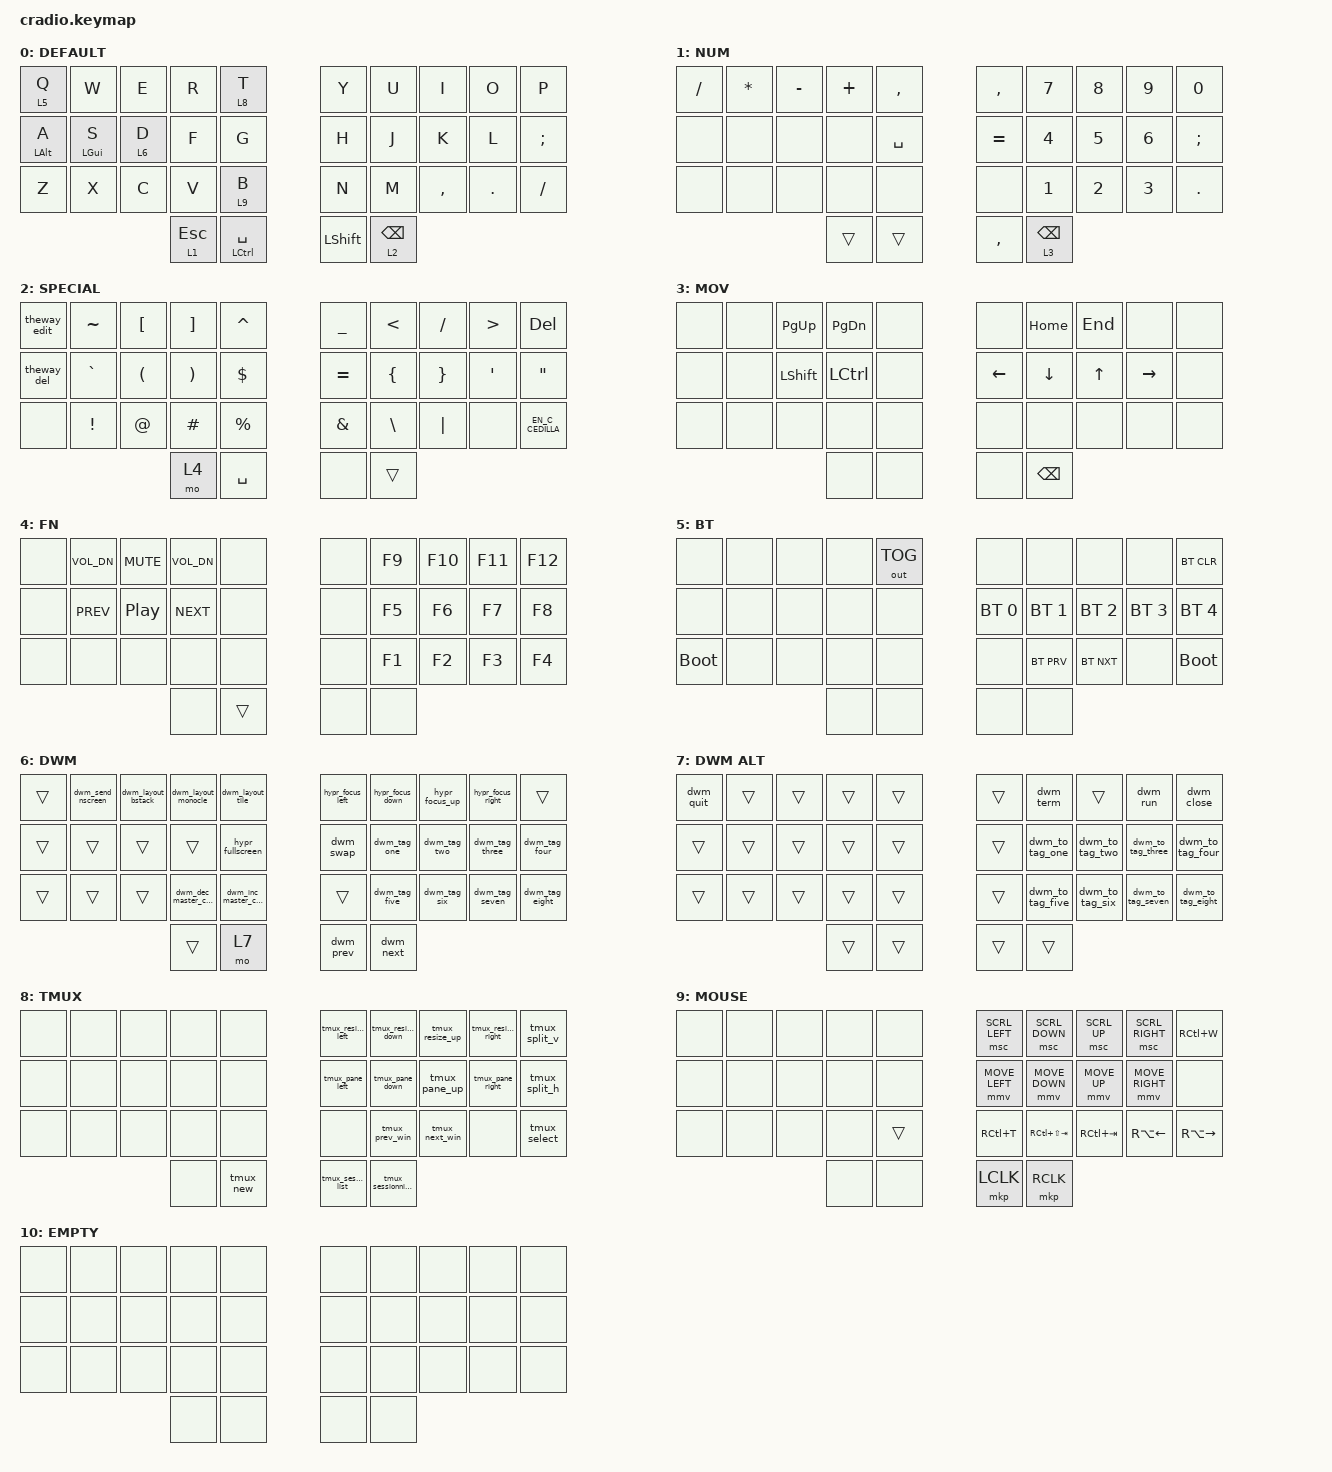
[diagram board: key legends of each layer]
// Copyright (c) 2022 The ZMK Contributors
// SPDX-License-Identifier: MIT

#define ZMK_POINTING_DEFAULT_MOVE_VAL 600  // 600
#define ZMK_POINTING_DEFAULT_SCRL_VAL 20    // 10

#include <behaviors.dtsi>
#include <dt-bindings/zmk/bt.h>
#include <dt-bindings/zmk/keys.h>
#include <dt-bindings/zmk/outputs.h>
#include <dt-bindings/zmk/pointing.h>
#include "keys_us_international.h"

#define MAC 0
#define WIN 1
#define RIG 2
#define LEF 3
#define TRI 4
#define MOUSE 5


/ {
    macros {
        dwm_term: dwm_term {
            compatible = "zmk,behavior-macro";
            #binding-cells = <0>;
            bindings
                = <&macro_press &kp LSHFT>
                    , <&macro_press &kp LALT>
                    , <&macro_tap &kp ENTER>
                    , <&macro_release &kp LALT>
                    , <&macro_release &kp LSHFT>
                    ;
        };

        dwm_swap: dwm_swap {
            compatible = "zmk,behavior-macro";
            #binding-cells = <0>;
            bindings
                = <&macro_press &kp LALT>
                    , <&macro_tap &kp ENTER>
                    , <&macro_release &kp LALT>
                    ;
        };

        dwm_run: dwm_run {
            compatible = "zmk,behavior-macro";
            #binding-cells = <0>;
            bindings
                = <&macro_press &kp LALT>
                    , <&macro_tap &kp P>
                    , <&macro_release &kp LALT>
                    ;
        };

        dwm_next: dwm_next {
            compatible = "zmk,behavior-macro";
            #binding-cells = <0>;
            bindings
                = <&macro_press &kp LALT>
                    , <&macro_tap &kp J>
                    , <&macro_release &kp LALT>
                    ;
        };

        dwm_prev: dwm_prev {
            compatible = "zmk,behavior-macro";
            #binding-cells = <0>;
            bindings
                = <&macro_press &kp LALT>
                    , <&macro_tap &kp K>
                    , <&macro_release &kp LALT>
                    ;
        };

        dwm_tag_one: dwm_tag_one {
            compatible = "zmk,behavior-macro";
            #binding-cells = <0>;
            bindings
                = <&macro_press &kp LALT>
                    , <&macro_tap &kp N1>
                    , <&macro_release &kp LALT>
                    ;
        };

        dwm_tag_two: dwm_tag_two {
            compatible = "zmk,behavior-macro";
            #binding-cells = <0>;
            bindings
                = <&macro_press &kp LALT>
                    , <&macro_tap &kp N2>
                    , <&macro_release &kp LALT>
                    ;
        };

        dwm_tag_three: dwm_tag_three {
            compatible = "zmk,behavior-macro";
            #binding-cells = <0>;
            bindings
                = <&macro_press &kp LALT>
                    , <&macro_tap &kp N3>
                    , <&macro_release &kp LALT>
                    ;
        };

        dwm_tag_four: dwm_tag_four {
            compatible = "zmk,behavior-macro";
            #binding-cells = <0>;
            bindings
                = <&macro_press &kp LALT>
                    , <&macro_tap &kp N4>
                    , <&macro_release &kp LALT>
                    ;
        };

        dwm_tag_five: dwm_tag_five {
            compatible = "zmk,behavior-macro";
            #binding-cells = <0>;
            bindings
                = <&macro_press &kp LALT>
                    , <&macro_tap &kp N5>
                    , <&macro_release &kp LALT>
                    ;
        };

        dwm_tag_six: dwm_tag_six {
            compatible = "zmk,behavior-macro";
            #binding-cells = <0>;
            bindings
                = <&macro_press &kp LALT>
                    , <&macro_tap &kp N6>
                    , <&macro_release &kp LALT>
                    ;
        };

        dwm_tag_seven: dwm_tag_seven {
            compatible = "zmk,behavior-macro";
            #binding-cells = <0>;
            bindings
                = <&macro_press &kp LALT>
                    , <&macro_tap &kp N7>
                    , <&macro_release &kp LALT>
                    ;
        };

        dwm_tag_eight: dwm_tag_eight {
            compatible = "zmk,behavior-macro";
            #binding-cells = <0>;
            bindings
                = <&macro_press &kp LALT>
                    , <&macro_tap &kp N8>
                    , <&macro_release &kp LALT>
                    ;
        };

        dwm_to_tag_one: dwm_to_tag_one {
            compatible = "zmk,behavior-macro";
            #binding-cells = <0>;
            bindings
                = <&macro_press &kp LALT>
                    , <&macro_press &kp LSHFT>
                    , <&macro_tap &kp N1>
                    , <&macro_release &kp LSHFT>
                    , <&macro_release &kp LALT>
                    ;
        };

        dwm_to_tag_two: dwm_to_tag_two {
            compatible = "zmk,behavior-macro";
            #binding-cells = <0>;
            bindings
                = <&macro_press &kp LALT>
                    , <&macro_press &kp LSHFT>
                    , <&macro_tap &kp N2>
                    , <&macro_release &kp LSHFT>
                    , <&macro_release &kp LALT>
                    ;
        };

        dwm_to_tag_three: dwm_to_tag_three {
            compatible = "zmk,behavior-macro";
            #binding-cells = <0>;
            bindings
                = <&macro_press &kp LALT>
                    , <&macro_press &kp LSHFT>
                    , <&macro_tap &kp N3>
                    , <&macro_release &kp LSHFT>
                    , <&macro_release &kp LALT>
                    ;
        };

        dwm_to_tag_four: dwm_to_tag_four {
            compatible = "zmk,behavior-macro";
            #binding-cells = <0>;
            bindings
                = <&macro_press &kp LALT>
                    , <&macro_press &kp LSHFT>
                    , <&macro_tap &kp N4>
                    , <&macro_release &kp LSHFT>
                    , <&macro_release &kp LALT>
                    ;
        };

        dwm_to_tag_five: dwm_to_tag_five {
            compatible = "zmk,behavior-macro";
            #binding-cells = <0>;
            bindings
                = <&macro_press &kp LALT>
                    , <&macro_press &kp LSHFT>
                    , <&macro_tap &kp N5>
                    , <&macro_release &kp LSHFT>
                    , <&macro_release &kp LALT>
                    ;
        };

        dwm_to_tag_six: dwm_to_tag_six {
            compatible = "zmk,behavior-macro";
            #binding-cells = <0>;
            bindings
                = <&macro_press &kp LALT>
                    , <&macro_press &kp LSHFT>
                    , <&macro_tap &kp N6>
                    , <&macro_release &kp LSHFT>
                    , <&macro_release &kp LALT>
                    ;
        };

        dwm_to_tag_seven: dwm_to_tag_seven {
            compatible = "zmk,behavior-macro";
            #binding-cells = <0>;
            bindings
                = <&macro_press &kp LALT>
                    , <&macro_press &kp LSHFT>
                    , <&macro_tap &kp N7>
                    , <&macro_release &kp LSHFT>
                    , <&macro_release &kp LALT>
                    ;
        };

        dwm_to_tag_eight: dwm_to_tag_eight {
            compatible = "zmk,behavior-macro";
            #binding-cells = <0>;
            bindings
                = <&macro_press &kp LALT>
                    , <&macro_press &kp LSHFT>
                    , <&macro_tap &kp N8>
                    , <&macro_release &kp LSHFT>
                    , <&macro_release &kp LALT>
                    ;
        };

        dwm_close: dwm_close {
            compatible = "zmk,behavior-macro";
            #binding-cells = <0>;
            bindings
                = <&macro_press &kp LALT>
                    , <&macro_press &kp LSHFT>
                    , <&macro_tap &kp C>
                    , <&macro_release &kp LSHFT>
                    , <&macro_release &kp LALT>
                    ;
        };

        dwm_quit: dwm_quit {
            compatible = "zmk,behavior-macro";
            #binding-cells = <0>;
            bindings
                = <&macro_press &kp LALT>
                    , <&macro_press &kp LSHFT>
                    , <&macro_tap &kp Q>
                    , <&macro_release &kp LSHFT>
                    , <&macro_release &kp LALT>
                    ;
        };

        dwm_inc_msize: dwm_inc_msize {
            compatible = "zmk,behavior-macro";
            #binding-cells = <0>;
            bindings
                = <&macro_press &kp LALT>
                    , <&macro_tap &kp L>
                    , <&macro_release &kp LALT>
                    ;
        };

        dwm_dec_msize: dwm_dec_msize {
            compatible = "zmk,behavior-macro";
            #binding-cells = <0>;
            bindings
                = <&macro_press &kp LALT>
                    , <&macro_tap &kp H>
                    , <&macro_release &kp LALT>
                    ;
        };

        dwm_layout_tile: dwm_layout_tile {
            compatible = "zmk,behavior-macro";
            #binding-cells = <0>;
            bindings
                = <&macro_press &kp LALT>
                    , <&macro_tap &kp T>
                    , <&macro_release &kp LALT>
                    ;
        };

        dwm_layout_monocle: dwm_layout_monocle {
            compatible = "zmk,behavior-macro";
            #binding-cells = <0>;
            bindings
                = <&macro_press &kp LALT>
                    , <&macro_tap &kp M>
                    , <&macro_release &kp LALT>
                    ;
        };

        dwm_layout_bstack: dwm_layout_bstack {
            compatible = "zmk,behavior-macro";
            #binding-cells = <0>;
            bindings
                = <&macro_press &kp LALT>
                    , <&macro_tap &kp U>
                    , <&macro_release &kp LALT>
                    ;
        };

        dwm_focus_nscreen: dwm_focus_nscreen {
            compatible = "zmk,behavior-macro";
            #binding-cells = <0>;
            bindings
                = <&macro_press &kp LALT>
                    , <&macro_tap &kp DOT>
                    , <&macro_release &kp LALT>
                    ;
        };

        dwm_send_nscreen: dwm_send_nscreen {
            compatible = "zmk,behavior-macro";
            #binding-cells = <0>;
            bindings
                = <&macro_press &kp LALT>
                    , <&macro_press &kp LSHFT>
                    , <&macro_tap &kp DOT>
                    , <&macro_release &kp LSHFT>
                    , <&macro_release &kp LALT>
                    ;
        };

        dwm_inc_master_count: dwm_inc_master_count {
            compatible = "zmk,behavior-macro";
            #binding-cells = <0>;
            bindings
                = <&macro_press &kp LALT>
                    , <&macro_tap &kp I>
                    , <&macro_release &kp LALT>
                    ;
        };

        dwm_dec_master_count: dwm_dec_master_count {
            compatible = "zmk,behavior-macro";
            #binding-cells = <0>;
            bindings
                = <&macro_press &kp LALT>
                    , <&macro_tap &kp D>
                    , <&macro_release &kp LALT>
                    ;
        };

        hypr_focus_up: hypr_focus_up {
            compatible = "zmk,behavior-macro";
            #binding-cells = <0>;
            bindings
                = <&macro_press &kp LALT>
                    , <&macro_tap &kp UP>
                    , <&macro_release &kp LALT>
                    ;
        };

        hypr_focus_right: hypr_focus_right {
            compatible = "zmk,behavior-macro";
            #binding-cells = <0>;
            bindings
                = <&macro_press &kp LALT>
                    , <&macro_tap &kp RIGHT>
                    , <&macro_release &kp LALT>
                    ;
        };

        hypr_focus_down: hypr_focus_down {
            compatible = "zmk,behavior-macro";
            #binding-cells = <0>;
            bindings
                = <&macro_press &kp LALT>
                    , <&macro_tap &kp DOWN>
                    , <&macro_release &kp LALT>
                    ;
        };

        hypr_focus_left: hypr_focus_left {
            compatible = "zmk,behavior-macro";
            #binding-cells = <0>;
            bindings
                = <&macro_press &kp LALT>
                    , <&macro_tap &kp LEFT>
                    , <&macro_release &kp LALT>
                    ;
        };

        hypr_fullscreen: hypr_fullscreen {
            compatible = "zmk,behavior-macro";
            #binding-cells = <0>;
            bindings
                = <&macro_press &kp LALT>
                    , <&macro_tap &kp F>
                    , <&macro_release &kp LALT>
                    ;
        };

        theway_edit: theway_edit {
            compatible = "zmk,behavior-macro";
            #binding-cells = <0>;
            bindings
                = <&macro_press &kp LSHFT>
                    , <&macro_tap &kp RIGHT>
                    , <&macro_release &kp LSHFT>
                    ;
        };

        theway_del: theway_del {
            compatible = "zmk,behavior-macro";
            #binding-cells = <0>;
            bindings
                = <&macro_press &kp LSHFT>
                    , <&macro_tap &kp LEFT>
                    , <&macro_release &kp LSHFT>
                    ;
        };

        tmux_new: tmux_new {
            compatible = "zmk,behavior-macro";
            #binding-cells = <0>;
            bindings
                = <&macro_press &kp LCTRL>
                    , <&macro_tap &kp B>
                    , <&macro_release &kp LCTRL>
                    , <&macro_tap &kp C>
                    ;
        };

        tmux_next_win: tmux_next_win {
            compatible = "zmk,behavior-macro";
            #binding-cells = <0>;
            bindings
                = <&macro_press &kp LCTRL>
                    , <&macro_tap &kp B>
                    , <&macro_release &kp LCTRL>
                    , <&macro_tap &kp N>
                    ;
        };

        tmux_prev_win: tmux_prev_win {
            compatible = "zmk,behavior-macro";
            #binding-cells = <0>;
            bindings
                = <&macro_press &kp LCTRL>
                    , <&macro_tap &kp B>
                    , <&macro_release &kp LCTRL>
                    , <&macro_tap &kp P>
                    ;
        };

        tmux_split_h: tmux_split_h {
            compatible = "zmk,behavior-macro";
            #binding-cells = <0>;
            bindings
                = <&macro_press &kp LCTRL>
                    , <&macro_tap &kp B>
                    , <&macro_release &kp LCTRL>
                    , <&macro_tap &kp PERCENT>
                    ;
        };

        tmux_split_v: tmux_split_v {
            compatible = "zmk,behavior-macro";
            #binding-cells = <0>;
            bindings
                = <&macro_press &kp LCTRL>
                    , <&macro_tap &kp B>
                    , <&macro_release &kp LCTRL>
                    , <&macro_tap &kp DQT>
                    ;
        };

        tmux_pane_up: tmux_pane_up {
            compatible = "zmk,behavior-macro";
            #binding-cells = <0>;
            bindings
                = <&macro_press &kp LCTRL>
                    , <&macro_tap &kp B>
                    , <&macro_release &kp LCTRL>
                    , <&macro_tap &kp UP>
                    ;
        };

        tmux_pane_right: tmux_pane_right {
            compatible = "zmk,behavior-macro";
            #binding-cells = <0>;
            bindings
                = <&macro_press &kp LCTRL>
                    , <&macro_tap &kp B>
                    , <&macro_release &kp LCTRL>
                    , <&macro_tap &kp RIGHT>
                    ;
        };
        tmux_pane_down: tmux_pane_down {
            compatible = "zmk,behavior-macro";
            #binding-cells = <0>;
            bindings
                = <&macro_press &kp LCTRL>
                    , <&macro_tap &kp B>
                    , <&macro_release &kp LCTRL>
                    , <&macro_tap &kp DOWN>
                    ;
        };

        tmux_pane_left: tmux_pane_left {
            compatible = "zmk,behavior-macro";
            #binding-cells = <0>;
            bindings
                = <&macro_press &kp LCTRL>
                    , <&macro_tap &kp B>
                    , <&macro_release &kp LCTRL>
                    , <&macro_tap &kp LEFT>
                    ;
        };

        tmux_resize_up: tmux_resize_up {
            compatible = "zmk,behavior-macro";
            #binding-cells = <0>;
            bindings
                = <&macro_press &kp LCTRL>
                    , <&macro_tap &kp B>
                    , <&macro_tap &kp UP>
                    , <&macro_release &kp LCTRL>
                    ;
        };

        tmux_resize_right: tmux_resize_right {
            compatible = "zmk,behavior-macro";
            #binding-cells = <0>;
            bindings
                = <&macro_press &kp LCTRL>
                    , <&macro_tap &kp B>
                    , <&macro_tap &kp RIGHT>
                    , <&macro_release &kp LCTRL>
                    ;
        };
        tmux_resize_down: tmux_resize_down {
            compatible = "zmk,behavior-macro";
            #binding-cells = <0>;
            bindings
                = <&macro_press &kp LCTRL>
                    , <&macro_tap &kp B>
                    , <&macro_tap &kp DOWN>
                    , <&macro_release &kp LCTRL>
                    ;
        };

        tmux_resize_left: tmux_resize_left {
            compatible = "zmk,behavior-macro";
            #binding-cells = <0>;
            bindings
                = <&macro_press &kp LCTRL>
                    , <&macro_tap &kp B>
                    , <&macro_tap &kp LEFT>
                    , <&macro_release &kp LCTRL>
                    ;
        };

        tmux_sessionnizer: tmux_sessionnizer {
            compatible = "zmk,behavior-macro";
            #binding-cells = <0>;
            bindings
                = <&macro_press &kp LCTRL>
                    , <&macro_tap &kp B>
                    , <&macro_release &kp LCTRL>
                    , <&macro_press &kp LSHFT>
                    , <&macro_tap &kp F>
                    , <&macro_release &kp LSHFT>
                    ;
        };

        tmux_session_list: tmux_session_list {
            compatible = "zmk,behavior-macro";
            #binding-cells = <0>;
            bindings
                = <&macro_press &kp LCTRL>
                    , <&macro_tap &kp B>
                    , <&macro_release &kp LCTRL>
                    , <&macro_tap &kp S>
                    ;
        };

        tmux_select: tmux_select {
            compatible = "zmk,behavior-macro";
            #binding-cells = <0>;
            bindings
                = <&macro_press &kp LCTRL>
                    , <&macro_tap &kp B>
                    , <&macro_release &kp LCTRL>
                    , <&macro_tap &kp LBKT>
                    ;
        };
    };

    combos {
        compatible = "zmk,combos";

        combo_caps {
            timeout-ms = <50>;
            key-positions = <15 16>;
            bindings = <&kp CAPS>;
            layers = <0>;
        };

        combo_tab {
            timeout-ms = <50>;
            key-positions = <16 17>;
            bindings = <&kp TAB>;
            layers = <0>;
        };

        combo_enter {
            timeout-ms = <50>;
            key-positions = <17 18>;
            bindings = <&kp ENTER>;
            layers = <0>;
        };

        combo_bslash {
            timeout-ms = <50>;
            key-positions = <26 27>;
            bindings = <&kp BACKSLASH>;
            layers = <0>;
        };

    };
};

/ {
    chosen {
        zmk,charmap = &charmap_us;
    };
    behaviors {
        // balanced layer tap
        blt: layer_tap { 
            compatible = "zmk,behavior-hold-tap";
            #binding-cells = <2>;
            flavor = "balanced";
            tapping-term-ms = <200>;
            bindings = <&mo>, <&kp>;
            display-name = "B-Layer-Tap";
        };

        ht: hold_tap {
            label = "hold_tap";
            compatible = "zmk,behavior-hold-tap";
            #binding-cells = <2>;
            flavor = "balanced";
            tapping-term-ms = <200>;
            quick-tap-ms = <150>;
            global-quick-tap;
            bindings = <&kp>, <&kp>;
        };
        mmv {
            acceleration-exponent = <1>;  // 1
            time-to-max-speed-ms = <300>; // 40
            delay-ms = <0>;               // 0
        };
        msc {
            acceleration-exponent = <0>;  // 0
            time-to-max-speed-ms = <40>;  // 500
            delay-ms = <0>;               // 10
        };
    };

    keymap {
        compatible = "zmk,keymap";

        // 0
        default_layer {
            display-name = "DEFAULT";
            bindings = <
                &lt 5 Q     &kp W       &kp E    &kp R  &lt 8 T    &kp Y  &kp U  &kp I      &kp O    &kp P
                &ht LALT A  &ht LGUI S  &lt 6 D  &kp F  &kp G      &kp H  &kp J  &kp K      &kp L    &kp SEMI
                &kp Z       &kp X       &kp C    &kp V  &lt 9 B    &kp N  &kp M  &kp COMMA  &kp DOT  &kp FSLH
                &blt 1 ESC  &ht LCTRL SPACE    &kp LSHFT  &blt 2 BSPC
            >;
        };

        // 1
        numbers_layer {
            display-name = "NUM";
            bindings = <
                &kp FSLH  &kp STAR  &kp MINUS  &kp PLUS  &kp COMMA    &kp COMMA  &kp N7  &kp N8  &kp N9  &kp N0
                &none     &none     &none      &none     &kp SPACE    &kp EQUAL  &kp N4  &kp N5  &kp N6  &kp SEMI
                &none     &none     &none      &none     &none        &none      &kp N1  &kp N2  &kp N3  &kp DOT
                &trans  &trans    &kp COMMA  &blt 3 BSPC
            >;
        };

        // 2
        special_layer {
            display-name = "SPECIAL";
            bindings = <
                &theway_edit  &kp TILDE  &kp LBKT  &kp RBKT  &kp CARET    &kp UNDER  &kp LT    &kp SLASH  &kp GT   &kp DEL         
                &theway_del   &kp GRAVE  &kp LPAR  &kp RPAR  &kp DLLR     &kp EQUAL  &kp LBRC  &kp RBRC   &kp SQT  &kp DQT          
                &none         &kp EXCL   &kp AT    &kp HASH  &kp PRCNT    &kp AMPS   &kp BSLH  &kp PIPE   &none    &kp EN_C_CEDILLA
                &mo 4  &kp SPACE    &none  &trans
            >;
        };

        // 3
        arrow_layer {
            display-name = "MOV";
            bindings = <
                &none  &none  &kp PG_UP   &kp PG_DN  &none    &none     &kp HOME  &kp END  &none      &none 
                &none  &none  &kp LSHIFT  &kp LCTRL  &none    &kp LEFT  &kp DOWN  &kp UP   &kp RIGHT  &none
                &none  &none  &none       &none      &none    &none     &none     &none    &none      &none
                &none  &none    &none  &kp BSPC 
            >;
        };

        // 4
        fn_layer {
            display-name = "FN";
            bindings = <
                &none  &kp C_VOL_DN  &kp C_MUTE  &kp C_VOL_DN  &none    &none  &kp F9  &kp F10  &kp F11  &kp F12
                &none  &kp C_PREV    &kp C_PP    &kp C_NEXT    &none    &none  &kp F5  &kp F6   &kp F7   &kp F8
                &none  &none         &none       &none         &none    &none  &kp F1  &kp F2   &kp F3   &kp F4
                &none  &trans    &none  &none
            >;
        };

        // 5
        control_layer {
            display-name = "BT";
            bindings = <
                &none        &none  &none  &none  &out OUT_TOG    &none         &none         &none         &none         &bt BT_CLR  
                &none        &none  &none  &none  &none           &bt BT_SEL 0  &bt BT_SEL 1  &bt BT_SEL 2  &bt BT_SEL 3  &bt BT_SEL 4
                &bootloader  &none  &none  &none  &none           &none         &bt BT_PRV    &bt BT_NXT    &none         &bootloader
                &none  &none    &none  &none
            >;
        };

        // 6
        dwm_layer {
            display-name = "DWM";
            bindings = <
                &trans  &dwm_send_nscreen  &dwm_layout_bstack  &dwm_layout_monocle    &dwm_layout_tile         &hypr_focus_left  &hypr_focus_down  &hypr_focus_up  &hypr_focus_right  &trans       
                &trans  &trans             &trans              &trans                 &hypr_fullscreen         &dwm_swap         &dwm_tag_one      &dwm_tag_two    &dwm_tag_three     &dwm_tag_four
                &trans  &trans             &trans              &dwm_dec_master_count  &dwm_inc_master_count    &trans            &dwm_tag_five     &dwm_tag_six    &dwm_tag_seven     &dwm_tag_eight
                &trans  &mo 7    &dwm_prev &dwm_next
            >;
        };

        // 7
        dwm_alt_layer {
            display-name = "DWM ALT";
            bindings = <
                &dwm_quit  &trans  &trans  &trans  &trans    &trans  &dwm_term         &trans            &dwm_run           &dwm_close
                &trans     &trans  &trans  &trans  &trans    &trans  &dwm_to_tag_one   &dwm_to_tag_two   &dwm_to_tag_three  &dwm_to_tag_four
                &trans     &trans  &trans  &trans  &trans    &trans  &dwm_to_tag_five  &dwm_to_tag_six   &dwm_to_tag_seven  &dwm_to_tag_eight
                &trans  &trans    &trans &trans
            >;
        };

        // 8
        tmux_layer {
            display-name = "TMUX";
            bindings = <
                &none  &none  &none  &none  &none    &tmux_resize_left  &tmux_resize_down  &tmux_resize_up  &tmux_resize_right  &tmux_split_v 
                &none  &none  &none  &none  &none    &tmux_pane_left    &tmux_pane_down    &tmux_pane_up    &tmux_pane_right    &tmux_split_h
                &none  &none  &none  &none  &none    &none              &tmux_prev_win     &tmux_next_win   &none &tmux_select
                &none &tmux_new    &tmux_session_list  &tmux_sessionnizer
            >;
        };

        // 9
        mouse {
            display-name = "MOUSE";
            bindings = <
                &none  &none  &none  &none  &none     &msc SCRL_LEFT  &msc SCRL_DOWN   &msc SCRL_UP  &msc SCRL_RIGHT  &kp RC(W)
                &none  &none  &none  &none  &none     &mmv MOVE_LEFT  &mmv MOVE_DOWN   &mmv MOVE_UP  &mmv MOVE_RIGHT  &none
                &none  &none  &none  &none  &trans    &kp RC(T)       &kp RC(LS(TAB))  &kp RC(TAB)   &kp RA(LEFT)     &kp RA(RIGHT)
                &none  &none  &mkp LCLK  &mkp RCLK
            >;
        };

        // 10 - not used, keeping it for reference
        empty_layer {
            display-name = "EMPTY";
            bindings = <
                &none  &none  &none  &none  &none    &none  &none  &none  &none  &none
                &none  &none  &none  &none  &none    &none  &none  &none  &none  &none
                &none  &none  &none  &none  &none    &none  &none  &none  &none  &none
                &none  &none    &none  &none
            >;
        };
    };
};
